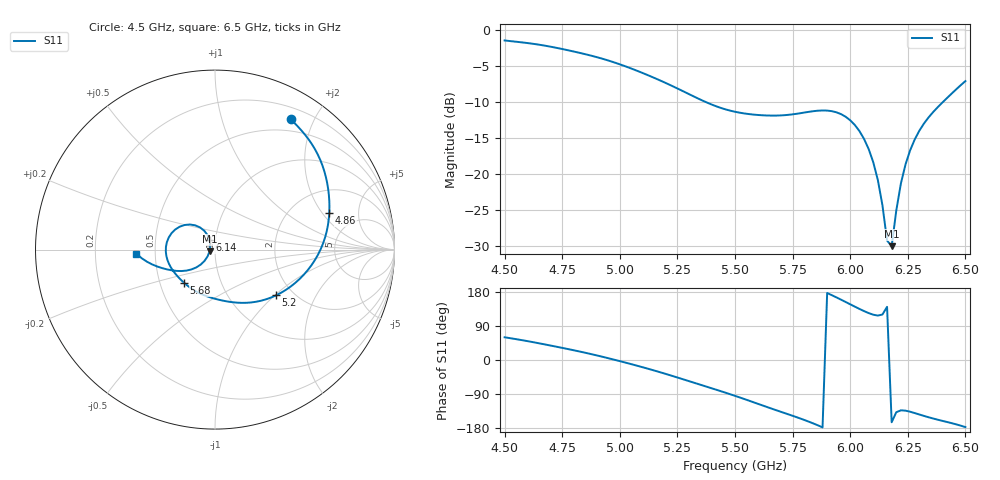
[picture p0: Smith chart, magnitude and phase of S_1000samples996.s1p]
! TOUCHSTONE file generated by CST MICROWAVE STUDIO
! Date and time: Sun Oct 30 01:04:47 2022
! Project name: L.cst
! Parameters = {Di=1.27; Epsilon_r=1.56; InnerDiameter=1.27; Length=2; Lf=10; Lg=60; OuterConductorThickness=0.2921; OuterDiameter=3.6; Wf=3; Wp=41.2; de=1.5; df=6.8; g=0.8; gx=0.621206; gy=0.489619; h=2.34; hf=1.524; px=8.72533; py=10.0987; w=9.7; wx=8.10412; wy=9.6091}
! Header version: 2018
! Port assignment regex: !\s*Touchstone port\s*([0-9]+)\s*=\s*(CST MWS port|CST DS port)\s*([0-9]+|Zmin|Zmax)\s*\(\"(.*)\"\)(\s*mode\s*([0-9]+))?.*
! Touchstone port assignment:
! Touchstone port 1 = CST MWS port 1 ("")
# GHz S DB R 50
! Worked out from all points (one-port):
!   101 points, 4.5 GHz to 6.5 GHz, reference 50 ohm
!   lowest |S11| = -30.1 dB at 6.18 GHz (marker M1), VSWR 1.06, Z = 47.1 - j0.799 ohm
!   |S11| at or under -10 dB: 5.369 GHz to 6.404 GHz (1.036 GHz wide, 17.6 % of centre)
!   S11 on the Smith chart (normalised r, x): 4.5 GHz: 0.34, +1.68; 4.86 GHz: 3.19, +2.35; 5.2 GHz: 1.64, -1.02; 5.68 GHz: 0.67, -0.26; 6.14 GHz: 0.94, +0.10; 6.5 GHz: 0.39, -0.02
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4.5  -1.51 59.9
4.64  -2.05 45.2
4.76  -2.77 30.7
4.86  -3.50 17.7
5  -4.83 -3.0
5.1  -6.05 -19.2
5.2  -7.43 -36.8
5.26  -8.34 -48.1
5.36  -9.88 -67.2
5.5  -11.42 -94.6
5.68  -11.95 -132.7
5.76  -11.73 -149.3
5.9  -11.25 176.8
6  -12.60 147.0
6.04  -14.10 134.9
6.08  -16.58 123.8
6.12  -20.90 117.2
6.14  -24.42 120.1
6.16  -29.31 140.3
6.18  -30.09 -164.3
6.2  -25.15 -137.8
6.22  -21.39 -132.8
6.24  -18.74 -133.7
6.26  -16.79 -136.5
6.3  -14.06 -143.8
6.34  -12.21 -151.1
6.44  -8.91 -166.6
6.5  -7.16 -177.0
